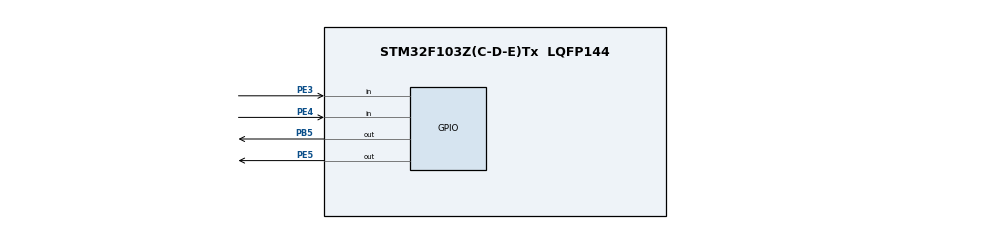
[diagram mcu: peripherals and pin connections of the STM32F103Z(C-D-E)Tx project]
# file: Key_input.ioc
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Mcu.Family=STM32F1
Mcu.Name=STM32F103Z(C-D-E)Tx
Mcu.Package=LQFP144
NVIC.PriorityGroup=NVIC_PRIORITYGROUP_4
OSC_IN.Mode=HSE-External-Oscillator
OSC_IN.Signal=RCC_OSC_IN
OSC_OUT.Mode=HSE-External-Oscillator
OSC_OUT.Signal=RCC_OSC_OUT
PA13.Mode=Trace_Asynchronous_SW
PA13.Signal=SYS_JTMS-SWDIO
PA14.Mode=Trace_Asynchronous_SW
PA14.Signal=SYS_JTCK-SWCLK
PB3.Mode=Trace_Asynchronous_SW
PB3.Signal=SYS_JTDO-TRACESWO
PB5.Signal=GPIO_Output
PC14-OSC32_IN.Mode=LSE-External-Oscillator
PC14-OSC32_IN.Signal=RCC_OSC32_IN
PC15-OSC32_OUT.Mode=LSE-External-Oscillator
PC15-OSC32_OUT.Signal=RCC_OSC32_OUT
PE3.GPIO_PuPd=GPIO_PULLUP
PE3.Signal=GPIO_Input
PE4.GPIO_PuPd=GPIO_PULLUP
PE4.Signal=GPIO_Input
PE5.Signal=GPIO_Output
ProjectManager.HeapSize=0x200
ProjectManager.StackSize=0x400
ProjectManager.TargetToolchain=EWARM V8.32
RCC.APB1Freq_Value=8000000
RCC.APB2Freq_Value=8000000
board=custom

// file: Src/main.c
/* USER CODE BEGIN Header */
/**
  ******************************************************************************
  * @file           : main.c
  * @brief          : Main program body
  ******************************************************************************
  * @attention
  *
  * <h2><center>&copy; Copyright (c) 2020 STMicroelectronics.
  * All rights reserved.</center></h2>
  *
  * This software component is licensed by ST under BSD 3-Clause license,
  * the "License"; You may not use this file except in compliance with the
  * License. You may obtain a copy of the License at:
  *                        opensource.org/licenses/BSD-3-Clause
  *
  ******************************************************************************
  */
/* USER CODE END Header */

#include "main.h"

/* USER CODE BEGIN Includes */
#include <stdio.h>
/* USER CODE END Includes */

void SystemClock_Config(void);
static void MX_GPIO_Init(void);

int main(void)
{

  /* MCU Configuration--------------------------------------------------------*/

  /* Reset of all peripherals, Initializes the Flash interface and the Systick. */
  HAL_Init();

  /* Configure the system clock */
  SystemClock_Config();

  /* Initialize all configured peripherals */
  MX_GPIO_Init();

  /* Infinite loop */
  /* USER CODE BEGIN WHILE */
  while (1)
  {
      if(HAL_GPIO_ReadPin(GPIOE,GPIO_PIN_3)== GPIO_PIN_SET){                     //判断案件是否按下
        HAL_Delay(10);
        if(HAL_GPIO_ReadPin(GPIOE,GPIO_PIN_3)== GPIO_PIN_SET){
           HAL_Delay(10);
           if(HAL_GPIO_ReadPin(GPIOE,GPIO_PIN_3)== GPIO_PIN_SET){                //消抖
             HAL_GPIO_WritePin(GPIOE,GPIO_PIN_5,GPIO_PIN_SET);
           }
      }
      }else if(HAL_GPIO_ReadPin(GPIOE,GPIO_PIN_3) == GPIO_PIN_RESET){
         HAL_Delay(10);
         if(HAL_GPIO_ReadPin(GPIOE,GPIO_PIN_3) == GPIO_PIN_RESET){
           HAL_Delay(10);
            HAL_GPIO_WritePin(GPIOE,GPIO_PIN_5,GPIO_PIN_RESET);
         }
      }

      if(HAL_GPIO_ReadPin(GPIOE,GPIO_PIN_4)== GPIO_PIN_SET){
        HAL_Delay(10);
        if(HAL_GPIO_ReadPin(GPIOE,GPIO_PIN_4)== GPIO_PIN_SET){
          HAL_Delay(10);
          if(HAL_GPIO_ReadPin(GPIOE,GPIO_PIN_4)== GPIO_PIN_SET){
            HAL_GPIO_WritePin(GPIOB,GPIO_PIN_5,GPIO_PIN_SET);
          }
        }
      }else if(HAL_GPIO_ReadPin(GPIOE,GPIO_PIN_4) == GPIO_PIN_RESET){
         HAL_Delay(10);
         if(HAL_GPIO_ReadPin(GPIOE,GPIO_PIN_4) == GPIO_PIN_RESET){
           HAL_Delay(10);
           HAL_GPIO_WritePin(GPIOB,GPIO_PIN_5,GPIO_PIN_RESET);
         }
      }
    /* USER CODE END WHILE */

  }
}

void SystemClock_Config(void)
{
  RCC_OscInitTypeDef RCC_OscInitStruct = {0};
  RCC_ClkInitTypeDef RCC_ClkInitStruct = {0};

  /** Initializes the CPU, AHB and APB busses clocks
  */
  RCC_OscInitStruct.OscillatorType = RCC_OSCILLATORTYPE_HSI;
  RCC_OscInitStruct.HSIState = RCC_HSI_ON;
  RCC_OscInitStruct.HSICalibrationValue = RCC_HSICALIBRATION_DEFAULT;
  RCC_OscInitStruct.PLL.PLLState = RCC_PLL_NONE;
  if (HAL_RCC_OscConfig(&RCC_OscInitStruct) != HAL_OK)
  {
    Error_Handler();
  }
  /** Initializes the CPU, AHB and APB busses clocks
  */
  RCC_ClkInitStruct.ClockType = RCC_CLOCKTYPE_HCLK|RCC_CLOCKTYPE_SYSCLK
                              |RCC_CLOCKTYPE_PCLK1|RCC_CLOCKTYPE_PCLK2;
  RCC_ClkInitStruct.SYSCLKSource = RCC_SYSCLKSOURCE_HSI;
  RCC_ClkInitStruct.AHBCLKDivider = RCC_SYSCLK_DIV1;
  RCC_ClkInitStruct.APB1CLKDivider = RCC_HCLK_DIV1;
  RCC_ClkInitStruct.APB2CLKDivider = RCC_HCLK_DIV1;

  if (HAL_RCC_ClockConfig(&RCC_ClkInitStruct, FLASH_LATENCY_0) != HAL_OK)
  {
    Error_Handler();
  }
}

static void MX_GPIO_Init(void)
{
  GPIO_InitTypeDef GPIO_InitStruct = {0};

  /* GPIO Ports Clock Enable */
  __HAL_RCC_GPIOE_CLK_ENABLE();
  __HAL_RCC_GPIOC_CLK_ENABLE();
  __HAL_RCC_GPIOA_CLK_ENABLE();
  __HAL_RCC_GPIOB_CLK_ENABLE();

  /*Configure GPIO pin Output Level */
  HAL_GPIO_WritePin(GPIOE, GPIO_PIN_5, GPIO_PIN_RESET);

  /*Configure GPIO pin Output Level */
  HAL_GPIO_WritePin(GPIOB, GPIO_PIN_5, GPIO_PIN_RESET);

  /*Configure GPIO pins : PE3 PE4 */
  GPIO_InitStruct.Pin = GPIO_PIN_3|GPIO_PIN_4;
  GPIO_InitStruct.Mode = GPIO_MODE_INPUT;
  GPIO_InitStruct.Pull = GPIO_PULLUP;
  HAL_GPIO_Init(GPIOE, &GPIO_InitStruct);

  /*Configure GPIO pin : PE5 */
  GPIO_InitStruct.Pin = GPIO_PIN_5;
  GPIO_InitStruct.Mode = GPIO_MODE_OUTPUT_PP;
  GPIO_InitStruct.Pull = GPIO_NOPULL;
  GPIO_InitStruct.Speed = GPIO_SPEED_FREQ_LOW;
  HAL_GPIO_Init(GPIOE, &GPIO_InitStruct);

  /*Configure GPIO pin : PB5 */
  GPIO_InitStruct.Pin = GPIO_PIN_5;
  GPIO_InitStruct.Mode = GPIO_MODE_OUTPUT_PP;
  GPIO_InitStruct.Pull = GPIO_NOPULL;
  GPIO_InitStruct.Speed = GPIO_SPEED_FREQ_LOW;
  HAL_GPIO_Init(GPIOB, &GPIO_InitStruct);

}

void Error_Handler(void)
{
}

/************************ (C) COPYRIGHT STMicroelectronics *****END OF FILE****/
